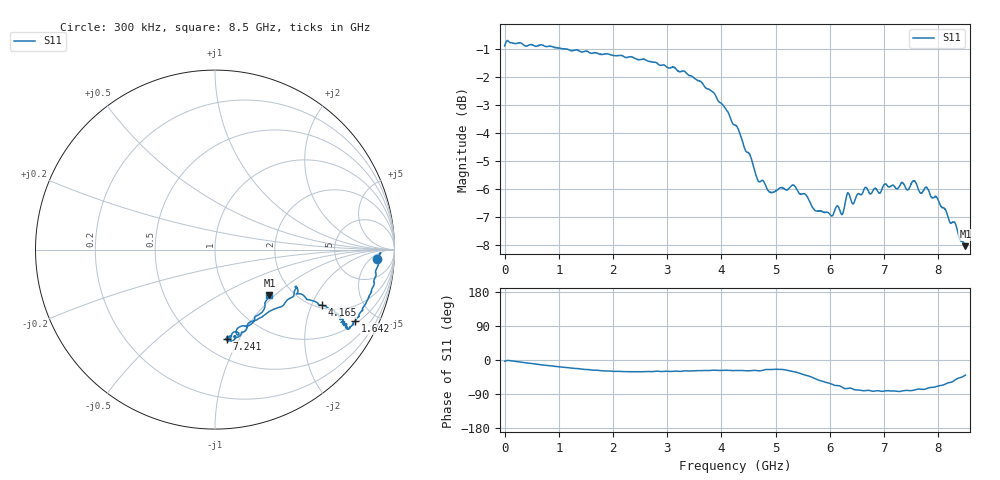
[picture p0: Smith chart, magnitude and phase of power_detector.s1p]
!Agilent Technologies,E5071B,MY42403616,A.09.10
!Date: Wed Jun 21 15:55:27 2017
!Data & Calibration Information:
!Freq	S11:SOLT1(ON)
# Hz S dB R 50
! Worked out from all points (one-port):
!   1601 points, 300 kHz to 8.5 GHz, reference 50 ohm
!   lowest |S11| = -8.1 dB at 8.5 GHz (marker M1), VSWR 2.31, Z = 76.7 - j46.2 ohm
!   |S11| at or under -10 dB: nowhere
!   S11 on the Smith chart (normalised r, x): 300 kHz: 15, -8; 1.642 GHz: 1.13, -3.88; 4.165 GHz: 2.11, -2.38; 7.241 GHz: 0.67, -0.89; 8.5 GHz: 1.53, -0.92
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300000  -0.89 -3.3
9.060931e7  -0.75 -1.5
5.846544e8  -0.89 -11.1
1.062762e9  -0.99 -18.9
1.641805e9  -1.14 -26.9
2.125225e9  -1.22 -30.1
2.528961e9  -1.36 -31.0
3.187688e9  -1.77 -29.4
3.846414e9  -2.54 -27.0
4.165153e9  -3.47 -27.5
4.25015e9  -3.72 -27.9
4.680447e9  -5.73 -28.4
4.951375e9  -6.12 -24.7
5.147931e9  -5.97 -25.3
5.312612e9  -5.87 -30.3
5.578228e9  -6.27 -41.1
6.01915e9  -6.95 -62.9
6.167895e9  -6.68 -67.7
6.268829e9  -6.64 -75.2
6.375075e9  -6.31 -74.1
6.608817e9  -6.13 -81.0
7.240982e9  -6.00 -82.5
7.437538e9  -6.05 -80.4
7.549096e9  -5.71 -79.5
7.735027e9  -6.04 -77.6
7.974081e9  -6.30 -69.5
8.271571e9  -7.19 -56.5
8.5e9  -8.05 -39.9
